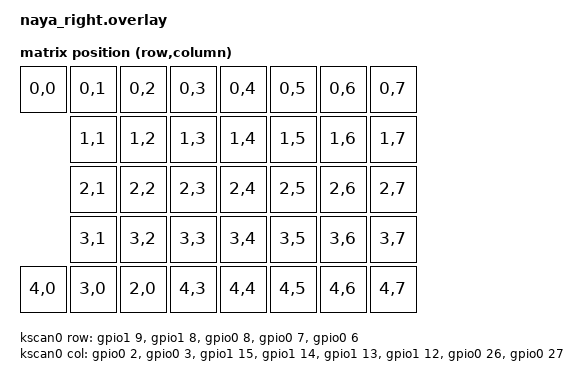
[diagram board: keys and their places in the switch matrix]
/*
 * Naya Create - right half, standalone.
 * Matrix recovered from the original firmware (kscan-gpio-matrix config):
 *   rows (outputs, active high): P1.09 P1.08 P0.08 P0.07 P0.06
 *   cols (inputs, pull-down):    P0.02 P0.03 P1.15 P1.14 P1.13 P1.12 P0.26 P0.27
 *   inputs = cols, outputs = rows  ->  diode-direction "row2col", debounce 5 ms
 */
#include <dt-bindings/zmk/matrix_transform.h>
#include <physical_layouts.dtsi>

/ {
    chosen {
        zmk,kscan = &kscan0;
        zmk,physical-layout = &physical_layout0;
    };

    kscan0: kscan {
        compatible = "zmk,kscan-gpio-matrix";
        diode-direction = "row2col";
        wakeup-source;
        debounce-press-ms = <5>;
        debounce-release-ms = <5>;

        row-gpios
            = <&gpio1 9 GPIO_ACTIVE_HIGH>
            , <&gpio1 8 GPIO_ACTIVE_HIGH>
            , <&gpio0 8 GPIO_ACTIVE_HIGH>
            , <&gpio0 7 GPIO_ACTIVE_HIGH>
            , <&gpio0 6 GPIO_ACTIVE_HIGH>
            ;

        col-gpios
            = <&gpio0 2  (GPIO_ACTIVE_HIGH | GPIO_PULL_DOWN)>
            , <&gpio0 3  (GPIO_ACTIVE_HIGH | GPIO_PULL_DOWN)>
            , <&gpio1 15 (GPIO_ACTIVE_HIGH | GPIO_PULL_DOWN)>
            , <&gpio1 14 (GPIO_ACTIVE_HIGH | GPIO_PULL_DOWN)>
            , <&gpio1 13 (GPIO_ACTIVE_HIGH | GPIO_PULL_DOWN)>
            , <&gpio1 12 (GPIO_ACTIVE_HIGH | GPIO_PULL_DOWN)>
            , <&gpio0 26 (GPIO_ACTIVE_HIGH | GPIO_PULL_DOWN)>
            , <&gpio0 27 (GPIO_ACTIVE_HIGH | GPIO_PULL_DOWN)>
            ;
    };

    /*
     * 37-key layout, from the mapping test.
     * Matrix column 0 = inner/thumb keys; columns 1-7 run inner -> outer.
     *   row 0: RC(0,0) inner top key, then 7 number-row keys
     *   row 1: 7 keys (RC(1,0) not populated)
     *   row 2: RC(2,0) thumb key, then 7 home-row keys
     *   row 3: RC(3,0) thumb key, then 7 bottom-row keys
     *   row 4: RC(4,0) + RC(4,3..7) = 6 bottom keys (RC(4,1), RC(4,2) not populated)
     */
    default_transform: keymap_transform_0 {
        compatible = "zmk,matrix-transform";
        rows = <5>;
        columns = <8>;
        map = <
            RC(0,0) RC(0,1) RC(0,2) RC(0,3) RC(0,4) RC(0,5) RC(0,6) RC(0,7)
                    RC(1,1) RC(1,2) RC(1,3) RC(1,4) RC(1,5) RC(1,6) RC(1,7)
            RC(2,0) RC(2,1) RC(2,2) RC(2,3) RC(2,4) RC(2,5) RC(2,6) RC(2,7)
            RC(3,0) RC(3,1) RC(3,2) RC(3,3) RC(3,4) RC(3,5) RC(3,6) RC(3,7)
            RC(4,0)                 RC(4,3) RC(4,4) RC(4,5) RC(4,6) RC(4,7)
        >;
    };
    physical_layout0: physical_layout_0 {
        compatible = "zmk,physical-layout";
        display-name = "Naya Create Right";
        transform = <&default_transform>;
        kscan = <&kscan0>;
        keys  /* same order as the keymap bindings */
            = <&key_physical_attrs 100 100 0 0 0 0 0>
            , <&key_physical_attrs 100 100 100 0 0 0 0>
            , <&key_physical_attrs 100 100 200 0 0 0 0>
            , <&key_physical_attrs 100 100 300 0 0 0 0>
            , <&key_physical_attrs 100 100 400 0 0 0 0>
            , <&key_physical_attrs 100 100 500 0 0 0 0>
            , <&key_physical_attrs 100 100 600 0 0 0 0>
            , <&key_physical_attrs 100 100 700 0 0 0 0>
            , <&key_physical_attrs 100 100 100 100 0 0 0>
            , <&key_physical_attrs 100 100 200 100 0 0 0>
            , <&key_physical_attrs 100 100 300 100 0 0 0>
            , <&key_physical_attrs 100 100 400 100 0 0 0>
            , <&key_physical_attrs 100 100 500 100 0 0 0>
            , <&key_physical_attrs 100 100 600 100 0 0 0>
            , <&key_physical_attrs 100 100 700 100 0 0 0>
            , <&key_physical_attrs 100 100 200 400 0 0 0>
            , <&key_physical_attrs 100 100 100 200 0 0 0>
            , <&key_physical_attrs 100 100 200 200 0 0 0>
            , <&key_physical_attrs 100 100 300 200 0 0 0>
            , <&key_physical_attrs 100 100 400 200 0 0 0>
            , <&key_physical_attrs 100 100 500 200 0 0 0>
            , <&key_physical_attrs 100 100 600 200 0 0 0>
            , <&key_physical_attrs 100 100 700 200 0 0 0>
            , <&key_physical_attrs 100 100 100 400 0 0 0>
            , <&key_physical_attrs 100 100 100 300 0 0 0>
            , <&key_physical_attrs 100 100 200 300 0 0 0>
            , <&key_physical_attrs 100 100 300 300 0 0 0>
            , <&key_physical_attrs 100 100 400 300 0 0 0>
            , <&key_physical_attrs 100 100 500 300 0 0 0>
            , <&key_physical_attrs 100 100 600 300 0 0 0>
            , <&key_physical_attrs 100 100 700 300 0 0 0>
            , <&key_physical_attrs 100 100 0 400 0 0 0>
            , <&key_physical_attrs 100 100 300 400 0 0 0>
            , <&key_physical_attrs 100 100 400 400 0 0 0>
            , <&key_physical_attrs 100 100 500 400 0 0 0>
            , <&key_physical_attrs 100 100 600 400 0 0 0>
            , <&key_physical_attrs 100 100 700 400 0 0 0>
            ;
    };
};

/* The nice!nano board routes these peripherals onto pins the Naya matrix uses
 * (e.g. UART on P0.06/P0.08). Turn them off so nothing fights the matrix. */
&uart0 { status = "disabled"; };
&i2c0  { status = "disabled"; };
&spi1  { status = "disabled"; };
